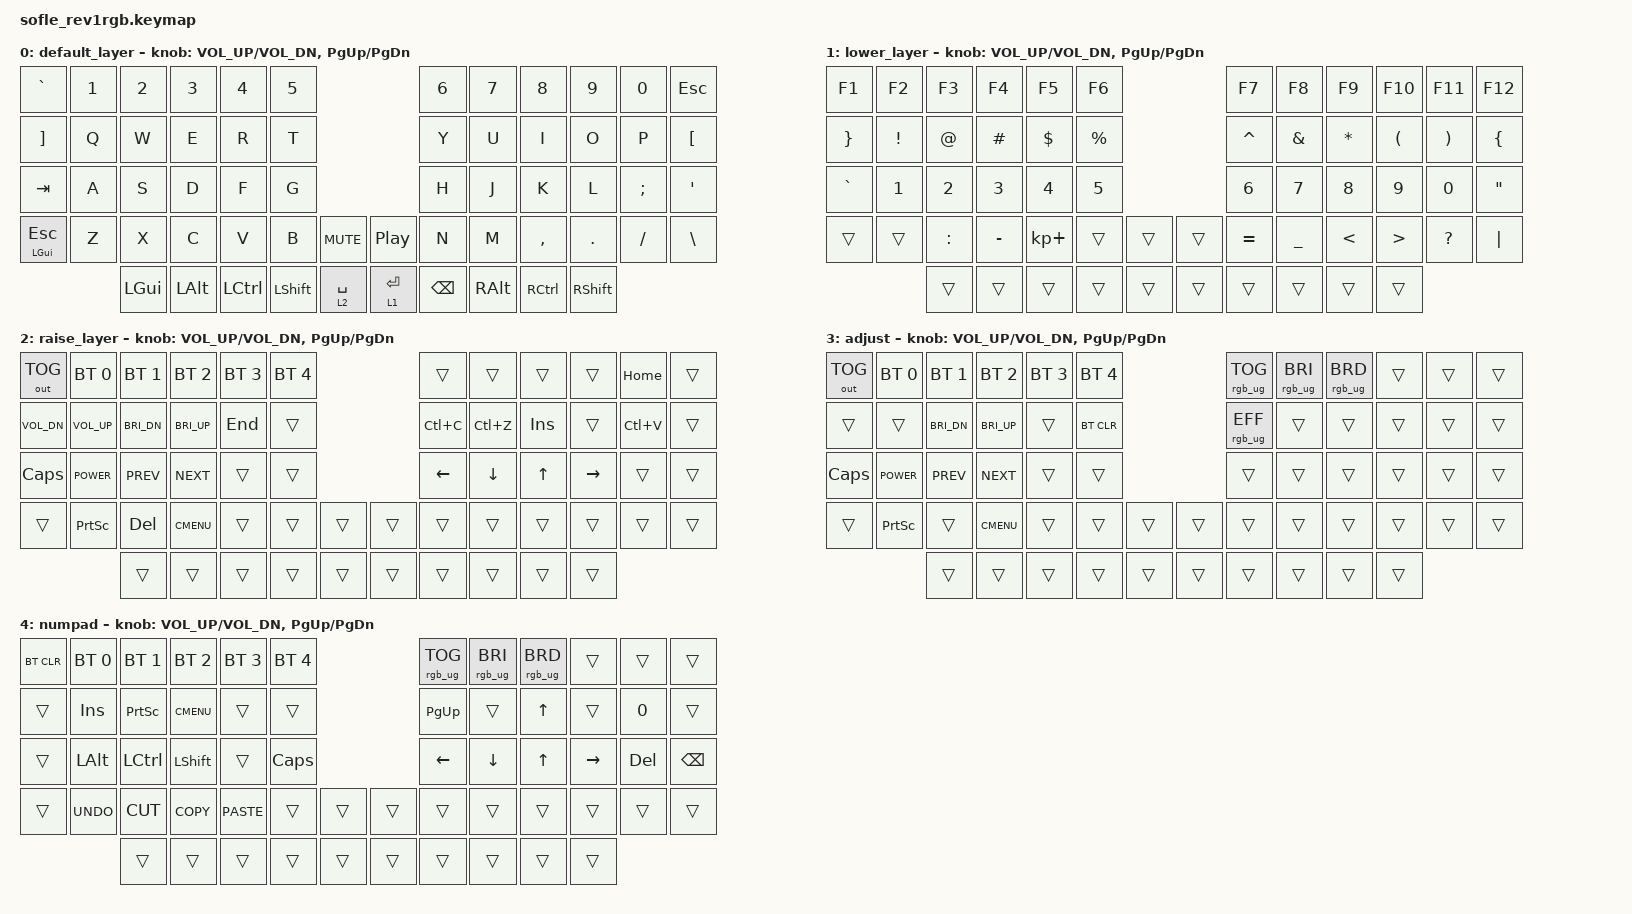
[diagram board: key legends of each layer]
#include <behaviors.dtsi>
#include <dt-bindings/zmk/keys.h>
#include <dt-bindings/zmk/bt.h>
#include <dt-bindings/zmk/rgb.h>
#include <dt-bindings/zmk/outputs.h>


/ {
    conditional_layers {
        compatible = "zmk,conditional-layers";
        tri_layer {
            if-layers = <1 2>;
            then-layer = <3>;
        };
    };
};

/ {
    keymap {
        compatible = "zmk,keymap";

        default_layer {
// ------------------------------------------------------------------------------------------------------------
// |  `    |  1  |  2  |  3   |  4   |  5   |                   |  6   |  7    |  8    |  9   |   0   |       |
// |  ESC  |  Q  |  W  |  E   |  R   |  T   |                   |  Y   |  U    |  I    |  O   |   P   | BKSPC |
// |  TAB  |  A  |  S  |  D   |  F   |  G   |                   |  H   |  J    |  K    |  L   |   ;   |   '   |
// | SHIFT |  Z  |  X  |  C   |  V   |  B   |  MUTE  |  |       |  N   |  M    |  ,    |  .   |   /   | SHIFT |
//               | GUI | ALT  | CTRL | LOWER|  ENTER |  | SPACE | RAISE| CTRL  | ALT   | GUI  |
            bindings = <
&kp GRAVE    &kp N1 &kp N2   &kp N3   &kp N4    &kp N5                                   &kp N6   &kp N7   &kp N8    &kp N9   &kp N0   &kp ESC
&kp RBKT     &kp Q  &kp W    &kp E    &kp R     &kp T                                    &kp Y    &kp U    &kp I     &kp O    &kp P    &kp LBKT
&kp TAB      &kp A  &kp S    &kp D    &kp F     &kp G                                    &kp H    &kp J    &kp K     &kp L    &kp SEMI &kp SQT
&mt LGUI ESC &kp Z  &kp X    &kp C    &kp V     &kp B      &kp C_MUTE   &kp C_PLAY_PAUSE &kp N    &kp M    &kp COMMA &kp DOT  &kp FSLH &kp BSLH
                    &kp LGUI &kp LALT &kp LCTRL &kp LSHFT  &lt 2 SPACE  &lt 1 ENTER      &kp BSPC &kp RALT &kp RCTRL &kp RSHFT
            >;

            sensor-bindings = <&inc_dec_kp C_VOL_UP C_VOL_DN &inc_dec_kp PG_UP PG_DN>;
        };

        lower_layer {
// ------------------------------------------------------------------------------------------------------------
// |       |  F1 |  F2 |  F3  |  F4  |  F5  |                   |  F6  |  F7   |  F8   |  F9  |  F10  |  F11  |
// |       |  !  |  @  |  #   |  $   |  %   |                   |  ^   |  &    |  *    |  (   |   )   |   |   |
// | `     |   1 |   2 |   3  |   4  |   5  |                   |   6  |   7   |   8   |   9  |    0  |  F12  |
// |       |  =  |  -  |  +   |  {   |  }   |        |  |       |  [   |  ]    |  ;    |  :   |   \   |       |
//               |     |      |      |      |        |  |       |      |       |       |      |
            bindings = <
&kp F1    &kp F2    &kp F3    &kp F4    &kp F5      &kp F6                    &kp F7    &kp F8    &kp F9   &kp F10   &kp F11      &kp F12
&kp RBRC  &kp EXCL  &kp AT    &kp HASH  &kp DLLR    &kp PRCNT                 &kp CARET &kp AMPS  &kp STAR &kp LPAR  &kp RPAR     &kp LBRC
&kp GRAVE &kp N1    &kp N2    &kp N3    &kp N4      &kp N5                    &kp N6    &kp N7    &kp N8   &kp N9    &kp N0       &kp DQT
&trans    &trans    &kp COLON &kp MINUS &kp KP_PLUS &trans    &trans   &trans &kp EQUAL &kp UNDER &kp LT   &kp GT    &kp QUESTION &kp PIPE
                    &trans    &trans      &trans    &trans    &trans   &trans &trans    &trans   &trans          &trans
            >;

            sensor-bindings = <&inc_dec_kp C_VOL_UP C_VOL_DN &inc_dec_kp PG_UP PG_DN>;
        };

        raise_layer { // vim simulation layer
// ------------------------------------------------------------------------------------------------------------
// |BTCLR| BT1  | BT2  |  BT3  |  BT4  |  BT5 |                |      |      |       |      |       |       |
// |     | INS  | PSCR | GUI   |       |      |                | PGUP |      |   ^   |      |       |       |
// |     | ALT  | CTRL | SHIFT |       | CAPS |                | PGDN |   <- |   v   |  ->  |  DEL  | BKSPC |
// |     | UNDO | CUT  | COPY  | PASTE |      |      |  |      |      |      |       |      |       |       |
//              |      |       |       |      |      |  |      |      |      |       |      |
            bindings = <
&out OUT_TOG &bt BT_SEL 0 &bt BT_SEL 1 &bt BT_SEL 2 &bt BT_SEL 3 &bt BT_SEL 4             &trans    &trans    &trans  &trans    &kp HOME    &trans
&kp C_VOL_DN &kp C_VOL_UP &kp C_BRI_DN &kp C_BRI_UP &kp END      &trans                   &kp LC(C) &kp LC(Z) &kp INS &trans    &kp LC(V) &trans
&kp CLCK     &kp C_POWER  &kp C_PREV   &kp C_NEXT   &trans       &trans                   &kp LEFT  &kp DOWN  &kp UP  &kp RIGHT &trans    &trans
&trans       &kp PSCRN    &kp DEL      &kp K_CMENU  &trans       &trans  &trans   &trans  &trans    &trans    &trans  &trans    &trans    &trans
                          &trans       &trans       &trans       &trans  &trans   &trans  &trans    &trans    &trans  &trans
            >;

            sensor-bindings = <&inc_dec_kp C_VOL_UP C_VOL_DN &inc_dec_kp PG_UP PG_DN>;
        };


        adjust {
// ------------------------------------------------------------------------------------------------------------
// |BTCLR| BT1  | BT2  |  BT3  |  BT4  |  BT5 |                |      |      |       |      |       |       |
// |     | INS  | PSCR | GUI   |       |      |                | PGUP |      |   ^   |      |       |       |
// |     | ALT  | CTRL | SHIFT |       | CAPS |                | PGDN |   <- |   v   |  ->  |  DEL  | BKSPC |
// |     | UNDO | CUT  | COPY  | PASTE |      |      |  |      |      |      |       |      |       |       |
//              |      |       |       |      |      |  |      |      |      |       |      |
            bindings = <
&out OUT_TOG &bt BT_SEL 0 &bt BT_SEL 1 &bt BT_SEL 2 &bt BT_SEL 3 &bt BT_SEL 4            &rgb_ug RGB_TOG    &rgb_ug RGB_BRI   &rgb_ug RGB_BRD &trans    &trans  &trans
&trans       &trans       &kp C_BRI_DN &kp C_BRI_UP &trans       &bt BT_CLR              &rgb_ug RGB_EFF    &trans            &trans          &trans    &trans  &trans          
&kp CLCK     &kp C_POWER  &kp C_PREV   &kp C_NEXT   &trans       &trans                  &trans             &trans            &trans          &trans    &trans  &trans
&trans       &kp PSCRN    &trans       &kp K_CMENU  &trans       &trans  &trans  &trans  &trans             &trans            &trans          &trans    &trans  &trans
                          &trans       &trans       &trans       &trans  &trans  &trans  &trans             &trans            &trans          &trans
            >;

            sensor-bindings = <&inc_dec_kp C_VOL_UP C_VOL_DN &inc_dec_kp PG_UP PG_DN>;
        };

        numpad { // TODO
// ------------------------------------------------------------------------------------------------------------
// |BTCLR| BT1  | BT2  |  BT3  |  BT4  |  BT5 |                |      |      |       |      |       |       |
// |     | INS  | PSCR | GUI   |       |      |                | PGUP |      |   ^   |      |       |       |
// |     | ALT  | CTRL | SHIFT |       | CAPS |                | PGDN |   <- |   v   |  ->  |  DEL  | BKSPC |
// |     | UNDO | CUT  | COPY  | PASTE |      |      |  |      |      |      |       |      |       |       |
//              |      |       |       |      |      |  |      |      |      |       |      |
            bindings = <
&bt BT_CLR &bt BT_SEL 0 &bt BT_SEL 1 &bt BT_SEL 2 &bt BT_SEL 3 &bt BT_SEL 4             &rgb_ug RGB_TOG    &rgb_ug RGB_BRI   &rgb_ug RGB_BRD &trans    &trans  &trans
&trans     &kp INS      &kp PSCRN    &kp K_CMENU  &trans       &trans                   &kp PG_UP          &trans            &kp UP          &trans    &kp N0  &trans
&trans     &kp LALT     &kp LCTRL    &kp LSHFT    &trans       &kp CLCK                 &kp LEFT           &kp DOWN          &kp UP          &kp RIGHT &kp DEL &kp BSPC
&trans     &kp K_UNDO   &kp K_CUT    &kp K_COPY   &kp K_PASTE  &trans  &trans   &trans  &trans             &trans            &trans          &trans    &trans  &trans
                        &trans       &trans       &trans       &trans  &trans   &trans  &trans             &trans            &trans          &trans
            >;

            sensor-bindings = <&inc_dec_kp C_VOL_UP C_VOL_DN &inc_dec_kp PG_UP PG_DN>;
        };
    };
};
